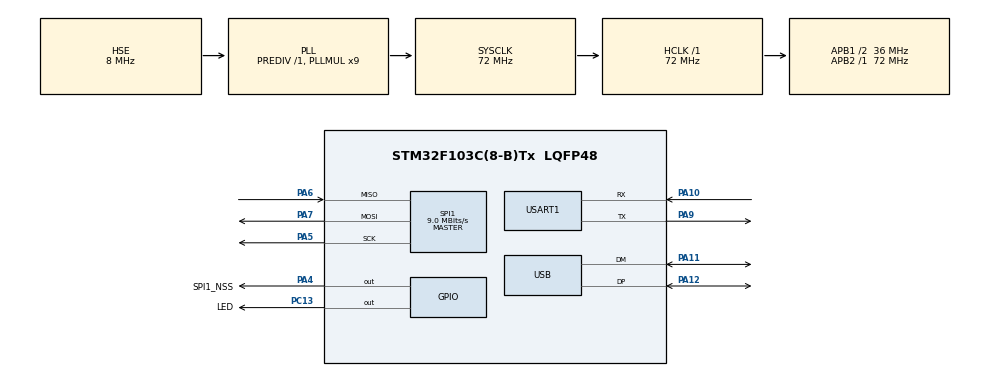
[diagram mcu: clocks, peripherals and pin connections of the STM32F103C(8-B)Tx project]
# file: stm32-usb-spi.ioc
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Mcu.Family=STM32F1
Mcu.Name=STM32F103C(8-B)Tx
Mcu.Package=LQFP48
NVIC.PriorityGroup=NVIC_PRIORITYGROUP_4
NVIC.USB_LP_CAN1_RX0_IRQn=true\:0\:0\:false\:false\:true\:false
PA10.Mode=Asynchronous
PA10.Signal=USART1_RX
PA11.Mode=Device
PA11.Signal=USB_DM
PA12.Mode=Device
PA12.Signal=USB_DP
PA13.Mode=Trace_Asynchronous_SW
PA13.Signal=SYS_JTMS-SWDIO
PA14.Mode=Trace_Asynchronous_SW
PA14.Signal=SYS_JTCK-SWCLK
PA4.GPIO_Label=SPI1_NSS
PA4.Signal=GPIO_Output
PA5.Mode=Full_Duplex_Master
PA5.Signal=SPI1_SCK
PA6.Mode=Full_Duplex_Master
PA6.Signal=SPI1_MISO
PA7.Mode=Full_Duplex_Master
PA7.Signal=SPI1_MOSI
PA9.Mode=Asynchronous
PA9.Signal=USART1_TX
PB3.Mode=Trace_Asynchronous_SW
PB3.Signal=SYS_JTDO-TRACESWO
PC13-TAMPER-RTC.GPIO_Label=LED
PC13-TAMPER-RTC.Signal=GPIO_Output
PC14-OSC32_IN.Mode=LSE-External-Oscillator
PC14-OSC32_IN.Signal=RCC_OSC32_IN
PC15-OSC32_OUT.Mode=LSE-External-Oscillator
PC15-OSC32_OUT.Signal=RCC_OSC32_OUT
PD0-OSC_IN.Mode=HSE-External-Oscillator
PD0-OSC_IN.Signal=RCC_OSC_IN
PD1-OSC_OUT.Mode=HSE-External-Oscillator
PD1-OSC_OUT.Signal=RCC_OSC_OUT
ProjectManager.HeapSize=0x200
ProjectManager.StackSize=0x400
ProjectManager.TargetToolchain=Makefile
RCC.AHBFreq_Value=72000000
RCC.APB1CLKDivider=RCC_HCLK_DIV2
RCC.APB1Freq_Value=36000000
RCC.APB1TimFreq_Value=72000000
RCC.APB2Freq_Value=72000000
RCC.APB2TimFreq_Value=72000000
RCC.HCLKFreq_Value=72000000
RCC.PLLMUL=RCC_PLL_MUL9
RCC.SYSCLKFreq_VALUE=72000000
RCC.SYSCLKSource=RCC_SYSCLKSOURCE_PLLCLK
RCC.USBFreq_Value=48000000
RCC.USBPrescaler=RCC_USBCLKSOURCE_PLL_DIV1_5
SPI1.BaudRatePrescaler=SPI_BAUDRATEPRESCALER_8
SPI1.CalculateBaudRate=9.0 MBits/s
SPI1.Direction=SPI_DIRECTION_2LINES
SPI1.Mode=SPI_MODE_MASTER
SPI1.VirtualType=VM_MASTER
USART1.VirtualMode=VM_ASYNC
USB_DEVICE.CLASS_NAME_FS=CDC
USB_DEVICE.VirtualMode=Cdc
USB_DEVICE.VirtualModeFS=Cdc_FS
VP_USB_DEVICE_VS_USB_DEVICE_CDC_FS.Mode=CDC_FS
board=stm32-usb-spi

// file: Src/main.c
/**
  ******************************************************************************
  * @file           : main.c
  * @brief          : Main program body
  ******************************************************************************
  * This notice applies to any and all portions of this file
  * that are not between comment pairs USER CODE BEGIN and
  * USER CODE END. Other portions of this file, whether
  * inserted by the user or by software development tools
  * are owned by their respective copyright owners.
  *
  * Copyright (c) 2018 STMicroelectronics International N.V.
  * All rights reserved.
  *
  * Redistribution and use in source and binary forms, with or without
  * modification, are permitted, provided that the following conditions are met:
  *
  * 1. Redistribution of source code must retain the above copyright notice,
  *    this list of conditions and the following disclaimer.
  * 2. Redistributions in binary form must reproduce the above copyright notice,
  *    this list of conditions and the following disclaimer in the documentation
  *    and/or other materials provided with the distribution.
  * 3. Neither the name of STMicroelectronics nor the names of other
  *    contributors to this software may be used to endorse or promote products
  *    derived from this software without specific written permission.
  * 4. This software, including modifications and/or derivative works of this
  *    software, must execute solely and exclusively on microcontroller or
  *    microprocessor devices manufactured by or for STMicroelectronics.
  * 5. Redistribution and use of this software other than as permitted under
  *    this license is void and will automatically terminate your rights under
  *    this license.
  *
  * THIS SOFTWARE IS PROVIDED BY STMICROELECTRONICS AND CONTRIBUTORS "AS IS"
  * AND ANY EXPRESS, IMPLIED OR STATUTORY WARRANTIES, INCLUDING, BUT NOT
  * LIMITED TO, THE IMPLIED WARRANTIES OF MERCHANTABILITY, FITNESS FOR A
  * PARTICULAR PURPOSE AND NON-INFRINGEMENT OF THIRD PARTY INTELLECTUAL PROPERTY
  * RIGHTS ARE DISCLAIMED TO THE FULLEST EXTENT PERMITTED BY LAW. IN NO EVENT
  * SHALL STMICROELECTRONICS OR CONTRIBUTORS BE LIABLE FOR ANY DIRECT, INDIRECT,
  * INCIDENTAL, SPECIAL, EXEMPLARY, OR CONSEQUENTIAL DAMAGES (INCLUDING, BUT NOT
  * LIMITED TO, PROCUREMENT OF SUBSTITUTE GOODS OR SERVICES; LOSS OF USE, DATA,
  * OR PROFITS; OR BUSINESS INTERRUPTION) HOWEVER CAUSED AND ON ANY THEORY OF
  * LIABILITY, WHETHER IN CONTRACT, STRICT LIABILITY, OR TORT (INCLUDING
  * NEGLIGENCE OR OTHERWISE) ARISING IN ANY WAY OUT OF THE USE OF THIS SOFTWARE,
  * EVEN IF ADVISED OF THE POSSIBILITY OF SUCH DAMAGE.
  *
  ******************************************************************************
  */
#include "main.h"
#include "stm32f1xx_hal.h"
#include "spi.h"
#include "usart.h"
#include "usb_device.h"
#include "gpio.h"
#include "usbd_cdc_if.h"

uint8_t  RxBuf[1024];
uint8_t  TxBuf[1024];
uint16_t BufPtr = 0;
uint8_t  HasData = 0;
extern SPI_HandleTypeDef hspi1;
#define SPI_TIMEOUT 100

/* USER CODE BEGIN PV */
/* Private variables ---------------------------------------------------------*/

/* USER CODE END PV */

void SystemClock_Config(void);
void atob(uint8_t * ascii, uint8_t * byte);
void btoa(uint8_t * byte, uint8_t * ascii);
uint8_t ntoa(uint8_t nibble);
uint8_t aton(uint8_t ascii);

/* USER CODE BEGIN PFP */
/* Private function prototypes -----------------------------------------------*/

/* USER CODE END PFP */

int main(void)
{

  /* MCU Configuration----------------------------------------------------------*/

  /* Reset of all peripherals, Initializes the Flash interface and the Systick. */
  HAL_Init();

  /* Configure the system clock */
  SystemClock_Config();

  /* Initialize all configured peripherals */
  MX_GPIO_Init();
  MX_USB_DEVICE_Init();
  MX_SPI1_Init();
  MX_USART1_UART_Init();

  /* Infinite loop */
  /* USER CODE BEGIN WHILE */
  while (1)
  {
  HAL_GPIO_TogglePin(LED_PORT, LED_PIN);
  HAL_Delay(200);
  if(HasData)
  {
    HasData = 0;
    HAL_GPIO_WritePin(SPI1_NSS_GPIO_Port, SPI1_NSS_Pin, GPIO_PIN_RESET);
    HAL_Delay(1);
    uint8_t tbyte, rbyte;
    for(uint16_t i = 0; i < BufPtr; i += 2)
    {
        atob(&RxBuf[i], (uint8_t *) &tbyte);
        HAL_SPI_TransmitReceive(&hspi1, &tbyte, &rbyte, 1, SPI_TIMEOUT);
        btoa(&rbyte, &TxBuf[i]);
    }
    HAL_Delay(1);
    HAL_GPIO_WritePin(SPI1_NSS_GPIO_Port, SPI1_NSS_Pin, GPIO_PIN_SET);
    TxBuf[BufPtr] = '\r';
    BufPtr++;
    TxBuf[BufPtr] = '\n';
    BufPtr++;
    CDC_Transmit_FS(TxBuf, BufPtr);
    BufPtr = 0;
  }
  /* USER CODE END WHILE */
  }

}

void SystemClock_Config(void)
{

  RCC_OscInitTypeDef RCC_OscInitStruct;
  RCC_ClkInitTypeDef RCC_ClkInitStruct;
  RCC_PeriphCLKInitTypeDef PeriphClkInit;

    /**Initializes the CPU, AHB and APB busses clocks
    */
  RCC_OscInitStruct.OscillatorType = RCC_OSCILLATORTYPE_HSE;
  RCC_OscInitStruct.HSEState = RCC_HSE_ON;
  RCC_OscInitStruct.HSEPredivValue = RCC_HSE_PREDIV_DIV1;
  RCC_OscInitStruct.HSIState = RCC_HSI_ON;
  RCC_OscInitStruct.PLL.PLLState = RCC_PLL_ON;
  RCC_OscInitStruct.PLL.PLLSource = RCC_PLLSOURCE_HSE;
  RCC_OscInitStruct.PLL.PLLMUL = RCC_PLL_MUL9;
  if (HAL_RCC_OscConfig(&RCC_OscInitStruct) != HAL_OK)
  {
    _Error_Handler(__FILE__, __LINE__);
  }

    /**Initializes the CPU, AHB and APB busses clocks
    */
  RCC_ClkInitStruct.ClockType = RCC_CLOCKTYPE_HCLK|RCC_CLOCKTYPE_SYSCLK
                              |RCC_CLOCKTYPE_PCLK1|RCC_CLOCKTYPE_PCLK2;
  RCC_ClkInitStruct.SYSCLKSource = RCC_SYSCLKSOURCE_PLLCLK;
  RCC_ClkInitStruct.AHBCLKDivider = RCC_SYSCLK_DIV1;
  RCC_ClkInitStruct.APB1CLKDivider = RCC_HCLK_DIV2;
  RCC_ClkInitStruct.APB2CLKDivider = RCC_HCLK_DIV1;

  if (HAL_RCC_ClockConfig(&RCC_ClkInitStruct, FLASH_LATENCY_2) != HAL_OK)
  {
    _Error_Handler(__FILE__, __LINE__);
  }

  PeriphClkInit.PeriphClockSelection = RCC_PERIPHCLK_USB;
  PeriphClkInit.UsbClockSelection = RCC_USBCLKSOURCE_PLL_DIV1_5;
  if (HAL_RCCEx_PeriphCLKConfig(&PeriphClkInit) != HAL_OK)
  {
    _Error_Handler(__FILE__, __LINE__);
  }

    /**Configure the Systick interrupt time
    */
  HAL_SYSTICK_Config(HAL_RCC_GetHCLKFreq()/1000);

    /**Configure the Systick
    */
  HAL_SYSTICK_CLKSourceConfig(SYSTICK_CLKSOURCE_HCLK);

  /* SysTick_IRQn interrupt configuration */
  HAL_NVIC_SetPriority(SysTick_IRQn, 0, 0);
}

/* USER CODE BEGIN 4 */
uint8_t ntoa(uint8_t nibble)
{
    if(nibble < 10){
        return nibble + '0';
    } else if(nibble < 16){
        return nibble - 10 + 'A';
    } else {
        return '?';
    }
}

uint8_t aton(uint8_t ascii)
{
    if((ascii >= 'A') && (ascii <= 'Z'))
    {
        return ascii - 'A' + 10;
    }
    else if((ascii >= 'a') && (ascii <= 'z'))
    {
        return ascii - 'a' + 10;
    }
    else if((ascii >= '0') && (ascii <= '9'))
    {
        return ascii - '0';
    }
    else
    {
        return 0x0F;
    }
}

void atob(uint8_t * ascii, uint8_t * byte)
{
    uint8_t high, low;
    high = aton(*ascii);
    ascii++;
    low  = aton(*ascii);
    *byte = high * 16 + low;
}

void btoa(uint8_t * byte, uint8_t * ascii)
{
    uint8_t high, low;
    high = *byte >> 4;
    low  = *byte & 0x0F;
    *ascii = ntoa(high);
    ascii++;
    *ascii = ntoa(low);
}

/* USER CODE END 4 */

void _Error_Handler(char *file, int line)
{
  while(1)
  {
  }
}

/************************ (C) COPYRIGHT STMicroelectronics *****END OF FILE****/
